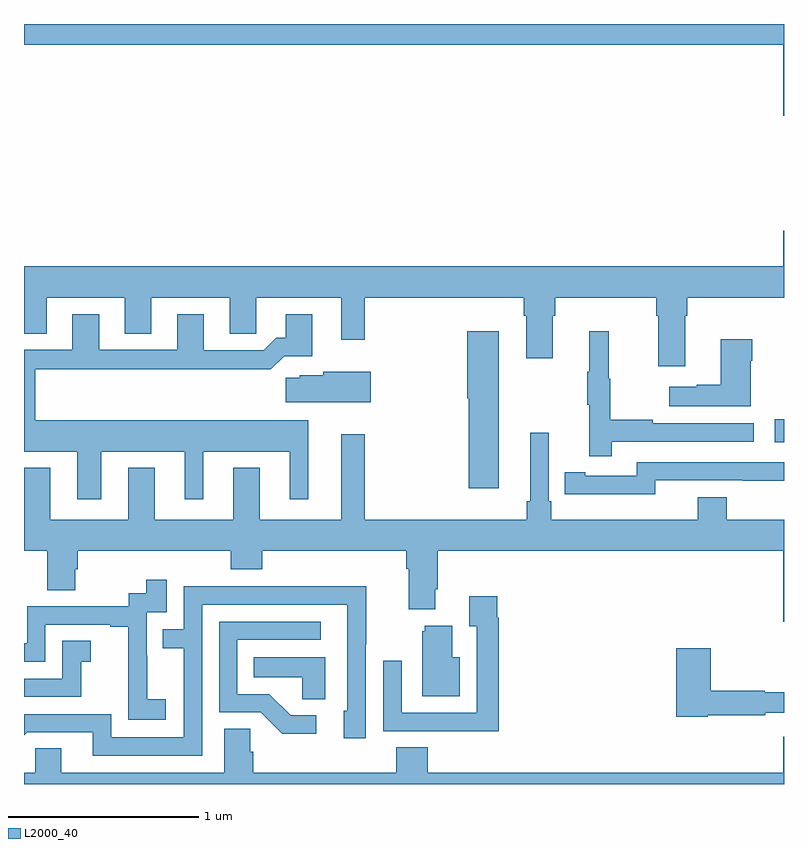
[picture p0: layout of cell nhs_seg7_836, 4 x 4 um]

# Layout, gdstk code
import gdstk
lib = gdstk.Library(unit=1e-6, precision=1e-09)
def R(c, l, rs):  # rectangles x0, y0, x1, y1
    for r in rs: c.add(gdstk.rectangle(r[:2], r[2:], *l))
def P(c, l, *ps):  # polygons
    for p in ps: c.add(gdstk.Polygon(p, *l))
L2000_40 = (2000, 40)

nhs_seg7_836 = lib.new_cell('nhs_seg7_836')
R(nhs_seg7_836, L2000_40, [(176.952,1055.799,177,1055.919)])
P(nhs_seg7_836, L2000_40, [(177,1058),(173,1058),(173,1057.892),(176.996,1057.892),(176.996,1057.518),(177,1057.518)],
  [(176.479,1056.464),(176.492,1056.464),(176.492,1056.56),(177,1056.56),(177,1056.913),(176.996,1056.913),(176.996,1056.724),(173,1056.724),(173,1056.37),(173.119,1056.37),(173.119,1056.56),(173.531,1056.56),(173.531,1056.37),(173.671,1056.37),(173.671,1056.56),(174.083,1056.56),(174.083,1056.37),(174.222,1056.37),(174.222,1056.56),(174.671,1056.56),(174.671,1056.339),(174.793,1056.339),(174.793,1056.56),(175.631,1056.56),(175.631,1056.464),(175.643,1056.464),(175.643,1056.24),(175.783,1056.24),(175.783,1056.464),(175.796,1056.464),(175.796,1056.56),(176.327,1056.56),(176.327,1056.464),(176.339,1056.464),(176.339,1056.198),(176.479,1056.198)],
  [(173.407,1055.75),(173.846,1055.75),(173.846,1055.499),(173.944,1055.499),(173.944,1055.75),(174.398,1055.75),(174.398,1055.499),(174.496,1055.499),(174.496,1055.914),(173.059,1055.914),(173.059,1056.184),(174.043,1056.184),(174.043,1056.182),(174.299,1056.182),(174.369,1056.252),(174.517,1056.252),(174.517,1056.472),(174.377,1056.472),(174.377,1056.349),(174.328,1056.349),(174.261,1056.282),(173.947,1056.282),(173.947,1056.472),(173.807,1056.472),(173.807,1056.285),(173.395,1056.285),(173.395,1056.472),(173.255,1056.472),(173.255,1056.285),(173,1056.285),(173,1055.75),(173.279,1055.75),(173.279,1055.499),(173.407,1055.499)],
  [(175.498,1056.382),(175.334,1056.382),(175.334,1056.03),(175.34,1056.03),(175.34,1055.556),(175.498,1055.556)],
  [(176.093,1055.802),(176.842,1055.802),(176.842,1055.898),(176.309,1055.898),(176.309,1055.918),(176.086,1055.918),(176.086,1056.132),(176.078,1056.132),(176.078,1056.382),(175.976,1056.382),(175.976,1056.169),(175.965,1056.169),(175.965,1055.995),(175.976,1055.995),(175.976,1055.724),(176.093,1055.724)],
  [(176.824,1056.227),(176.832,1056.227),(176.832,1056.34),(176.666,1056.34),(176.666,1056.101),(176.54,1056.101),(176.54,1056.091),(176.397,1056.091),(176.397,1055.987),(176.824,1055.987)],
  [(174.826,1056.169),(174.576,1056.169),(174.576,1056.151),(174.45,1056.151),(174.45,1056.137),(174.378,1056.137),(174.378,1056.008),(174.826,1056.008)],
  [(177,1055.392),(176.699,1055.392),(176.699,1055.509),(176.546,1055.509),(176.546,1055.392),(175.775,1055.392),(175.775,1055.488),(175.761,1055.488),(175.761,1055.848),(175.664,1055.848),(175.664,1055.488),(175.645,1055.488),(175.645,1055.392),(174.793,1055.392),(174.793,1055.842),(174.671,1055.842),(174.671,1055.392),(174.241,1055.392),(174.241,1055.665),(174.101,1055.665),(174.101,1055.392),(173.689,1055.392),(173.689,1055.665),(173.549,1055.665),(173.549,1055.392),(173.137,1055.392),(173.137,1055.665),(173,1055.665),(173,1055.228),(173.122,1055.228),(173.122,1055.02),(173.269,1055.02),(173.269,1055.13),(173.282,1055.13),(173.282,1055.228),(174.089,1055.228),(174.089,1055.129),(174.254,1055.129),(174.254,1055.228),(175.013,1055.228),(175.013,1055.132),(175.025,1055.132),(175.025,1054.919),(175.165,1054.919),(175.165,1055.026),(175.178,1055.026),(175.178,1055.228),(176.996,1055.228),(176.996,1054.854),(177,1054.854)],
  [(176.322,1055.598),(176.782,1055.598),(176.782,1055.597),(177,1055.597),(177,1055.694),(176.226,1055.694),(176.226,1055.622),(175.954,1055.622),(175.954,1055.642),(175.846,1055.642),(175.846,1055.526),(175.954,1055.526),(175.954,1055.525),(176.322,1055.525)],
  [(173.746,1054.447),(173.648,1054.447),(173.648,1054.676),(173.646,1054.676),(173.646,1054.905),(173.751,1054.905),(173.751,1055.074),(173.643,1055.074),(173.643,1055.004),(173.55,1055.004),(173.55,1054.935),(173.016,1054.935),(173.016,1054.74),(173,1054.74),(173,1054.644),(173.112,1054.644),(173.112,1054.839),(173.453,1054.839),(173.453,1054.827),(173.549,1054.827),(173.549,1054.543),(173.548,1054.543),(173.548,1054.337),(173.746,1054.337)],
  [(173.937,1054.944),(174.702,1054.944),(174.702,1054.386),(174.683,1054.386),(174.683,1054.242),(174.798,1054.242),(174.798,1054.735),(174.801,1054.735),(174.801,1055.042),(174.337,1055.042),(174.337,1055.04),(173.841,1055.04),(173.841,1054.815),(173.731,1054.815),(173.731,1054.714),(173.841,1054.714),(173.841,1054.245),(173.46,1054.245),(173.46,1054.368),(173,1054.368),(173,1054.256),(173.016,1054.272),(173.363,1054.272),(173.363,1054.149),(173.937,1054.149)],
  [(175.499,1054.874),(175.492,1054.874),(175.492,1054.987),(175.343,1054.987),(175.343,1054.831),(175.383,1054.831),(175.383,1054.374),(174.987,1054.374),(174.987,1054.648),(174.891,1054.648),(174.891,1054.278),(175.207,1054.278),(175.207,1054.277),(175.499,1054.277)],
  [(174.538,1054.362),(174.403,1054.362),(174.292,1054.473),(174.123,1054.473),(174.123,1054.758),(174.562,1054.758),(174.562,1054.854),(174.027,1054.854),(174.027,1054.377),(174.246,1054.377),(174.359,1054.265),(174.538,1054.265)],
  [(175.294,1054.666),(175.255,1054.666),(175.255,1054.834),(175.109,1054.834),(175.109,1054.803),(175.097,1054.803),(175.097,1054.463),(175.294,1054.463)],
  [(173.301,1054.643),(173.35,1054.643),(173.35,1054.753),(173.202,1054.753),(173.202,1054.554),(173,1054.554),(173,1054.458),(173.301,1054.458)],
  [(176.598,1054.362),(176.9,1054.362),(176.9,1054.374),(177,1054.374),(177,1054.483),(176.898,1054.483),(176.898,1054.49),(176.615,1054.49),(176.615,1054.714),(176.432,1054.714),(176.432,1054.354),(176.598,1054.354)],
  [(174.586,1054.666),(174.208,1054.666),(174.208,1054.562),(174.465,1054.562),(174.465,1054.447),(174.586,1054.447)],
  [(177,1054.249),(176.996,1054.249),(176.996,1054.06),(175.124,1054.06),(175.124,1054.193),(174.959,1054.193),(174.959,1054.06),(174.206,1054.06),(174.206,1054.169),(174.192,1054.169),(174.192,1054.292),(174.053,1054.292),(174.053,1054.06),(173.197,1054.06),(173.197,1054.187),(173.058,1054.187),(173.058,1054.06),(173,1054.06),(173,1054),(177,1054)])

lib.write_gds('nhs_seg7_836.gds')
